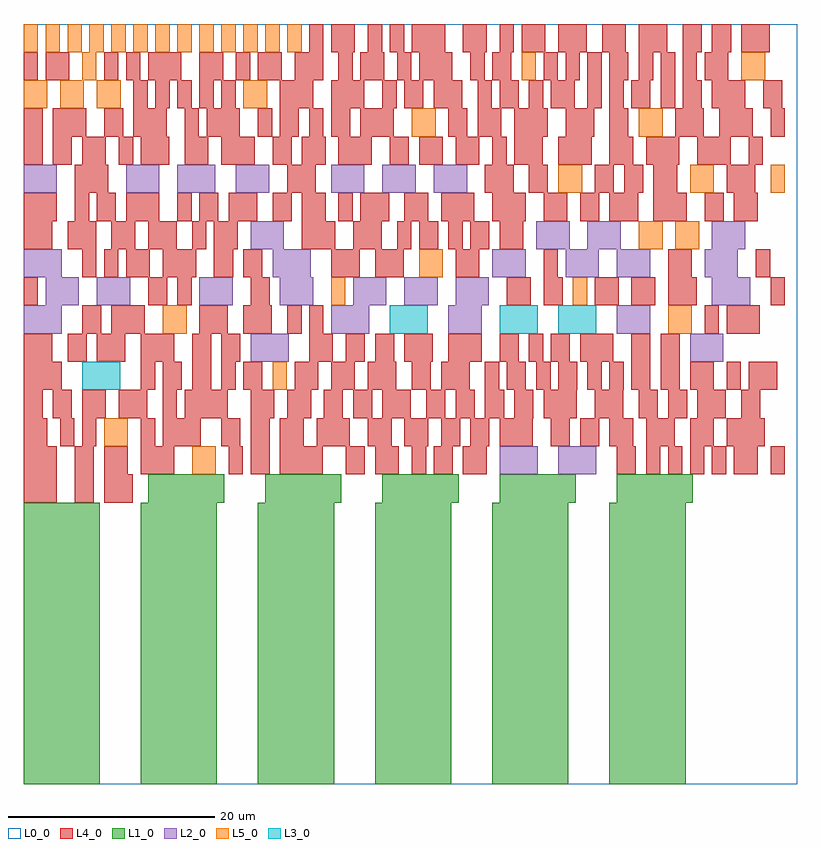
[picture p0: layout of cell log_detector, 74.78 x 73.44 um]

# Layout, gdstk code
import gdstk
lib = gdstk.Library(unit=1e-6, precision=1e-09)
def R(c, l, rs):  # rectangles x0, y0, x1, y1
    for r in rs: c.add(gdstk.rectangle(r[:2], r[2:], *l))
def A(c, l, x, y, w, h, nx, ny, dx, dy):  # array of equal rectangles
    R(c, l, [(x+i*dx, y+j*dy, x+i*dx+w, y+j*dy+h) for i in range(nx) for j in range(ny)])
L0_0 = (0, 0)
L1_0 = (1, 0)
L2_0 = (2, 0)
L3_0 = (3, 0)
L4_0 = (4, 0)
L5_0 = (5, 0)

log_detector = lib.new_cell('log_detector')
R(log_detector, L0_0, [(0,0,74.779,73.44)])
A(log_detector, L1_0, 0, 2.72, 7.36, 2.72, 6, 9, 11.323, 2.72)
A(log_detector, L1_0, 12.031, 27.2, 7.36, 2.72, 5, 1, 11.323, 0)
R(log_detector, L1_0, [(0,0,7.36,2.72), (0,0,7.36,2.72), (0,0,7.36,2.72), (11.323,0,18.683,2.72), (11.323,0,18.683,2.72), (11.323,0,18.683,2.72), (22.646,0,30.006,2.72), (22.646,0,30.006,2.72), (22.646,0,30.006,2.72), (33.969,0,41.329,2.72), (33.969,0,41.329,2.72), (45.292,0,52.652,2.72), (45.292,0,52.652,2.72), (56.615,0,63.975,2.72), (56.615,0,63.975,2.72)])
A(log_detector, L2_0, 31.846, 46.24, 3.22, 2.72, 3, 1, 4.954, 0)
A(log_detector, L2_0, 29.723, 57.12, 3.22, 2.72, 3, 1, 4.954, 0)
R(log_detector, L2_0, [(46,29.92,49.68,32.64), (51.662,29.92,55.342,32.64), (21.938,40.8,25.618,43.52), (64.4,40.8,67.62,43.52), (0,43.52,3.68,46.24), (29.723,43.52,33.403,46.24), (41.046,43.52,44.266,46.24), (57.323,43.52,60.543,46.24), (2.123,46.24,5.343,48.96), (7.077,46.24,10.297,48.96), (16.985,46.24,20.205,48.96), (24.769,46.24,27.989,48.96), (66.523,46.24,70.203,48.96), (0,48.96,3.68,51.68), (24.062,48.96,27.742,51.68), (45.292,48.96,48.512,51.68), (52.369,48.96,55.589,51.68), (57.323,48.96,60.543,51.68), (65.815,48.96,69.035,51.68), (21.938,51.68,25.158,54.4), (49.538,51.68,52.758,54.4), (54.492,51.68,57.712,54.4), (66.523,51.68,69.743,54.4), (0,57.12,3.22,59.84), (9.908,57.12,13.128,59.84), (14.862,57.12,18.542,59.84), (20.523,57.12,23.743,59.84)])
R(log_detector, L3_0, [(5.662,38.08,9.342,40.8), (35.385,43.52,39.065,46.24), (46,43.52,49.68,46.24), (51.662,43.52,55.342,46.24)])
A(log_detector, L4_0, 60.154, 29.92, 1.38, 2.72, 4, 1, 2.123, 0)
A(log_detector, L4_0, 72.185, 29.92, 1.38, 2.72, 1, 3, 0, 16.32)
A(log_detector, L4_0, 38.923, 35.36, 1.84, 2.72, 3, 1, 2.831, 0)
A(log_detector, L4_0, 15.569, 59.84, 2.3, 2.72, 3, 1, 11.323, 0)
A(log_detector, L4_0, 14.862, 65.28, 1.38, 2.72, 3, 1, 2.123, 0)
A(log_detector, L4_0, 36.092, 68, 1.38, 2.72, 3, 1, 7.077, 0)
A(log_detector, L4_0, 59.446, 68, 1.38, 2.72, 3, 1, 2.123, 0)
R(log_detector, L4_0, [(0,27.2,3.22,29.92), (4.954,27.2,6.794,29.92), (7.785,27.2,10.545,29.92), (0,29.92,3.22,32.64), (4.954,29.92,6.794,32.64), (7.785,29.92,10.085,32.64), (11.323,29.92,14.543,32.64), (19.815,29.92,21.195,32.64), (21.938,29.92,23.778,32.64), (24.769,29.92,28.909,32.64), (31.138,29.92,32.978,32.64), (33.969,29.92,36.269,32.64), (37.508,29.92,38.888,32.64), (39.631,29.92,41.471,32.64), (42.462,29.92,44.762,32.64), (57.323,29.92,59.163,32.64), (68.646,29.92,70.946,32.64), (0,32.64,2.3,35.36), (3.538,32.64,4.918,35.36), (5.662,32.64,7.042,35.36), (11.323,32.64,12.703,35.36), (13.446,32.64,17.126,35.36), (19.108,32.64,20.948,35.36), (21.938,32.64,23.778,35.36), (24.769,32.64,27.069,35.36), (28.308,32.64,31.528,35.36), (33.262,32.64,35.562,35.36), (36.8,32.64,39.1,35.36), (40.338,32.64,42.178,35.36), (43.169,32.64,45.009,35.36), (46,32.64,49.22,35.36), (50.954,32.64,52.794,35.36), (53.785,32.64,55.625,35.36), (56.615,32.64,58.915,35.36), (60.154,32.64,62.914,35.36), (64.4,32.64,66.7,35.36), (67.938,32.64,71.618,35.36), (0,35.36,1.84,38.08), (2.831,35.36,4.671,38.08), (5.662,35.36,7.962,38.08), (9.2,35.36,11.96,38.08), (13.446,35.36,14.826,38.08), (15.569,35.36,19.709,38.08), (21.938,35.36,24.238,38.08), (25.477,35.36,27.777,38.08), (29.015,35.36,30.855,38.08), (31.846,35.36,33.686,38.08), (34.677,35.36,37.437,38.08), (47.415,35.36,49.255,38.08), (50.246,35.36,53.466,38.08), (55.2,35.36,57.96,38.08), (59.446,35.36,61.286,38.08), (62.277,35.36,64.117,38.08), (65.108,35.36,67.868,38.08), (69.354,35.36,71.194,38.08), (0,38.08,3.68,40.8), (11.323,38.08,12.703,40.8), (13.446,38.08,15.286,40.8), (16.277,38.08,18.117,40.8), (19.108,38.08,20.488,40.8), (21.231,38.08,23.071,40.8), (26.185,38.08,28.485,40.8), (29.723,38.08,32.023,40.8), (33.262,38.08,36.022,40.8), (37.508,38.08,39.348,40.8), (40.338,38.08,43.098,40.8), (44.585,38.08,45.965,40.8), (46.708,38.08,48.548,40.8), (49.538,38.08,50.918,40.8), (51.662,38.08,53.502,40.8), (54.492,38.08,55.872,40.8), (56.615,38.08,57.995,40.8), (58.738,38.08,60.578,40.8), (61.569,38.08,63.409,40.8), (64.4,38.08,66.7,40.8), (67.938,38.08,69.318,40.8), (70.062,38.08,72.822,40.8), (0,40.8,2.76,43.52), (4.246,40.8,6.086,43.52), (7.077,40.8,9.837,43.52), (11.323,40.8,14.543,43.52), (16.277,40.8,18.117,43.52), (19.108,40.8,20.948,43.52), (27.6,40.8,29.9,43.52), (31.138,40.8,32.978,43.52), (33.969,40.8,35.809,43.52), (36.8,40.8,39.56,43.52), (41.046,40.8,44.266,43.52), (46,40.8,47.84,43.52), (48.831,40.8,50.211,43.52), (50.954,40.8,52.794,43.52), (53.785,40.8,57.005,43.52), (58.738,40.8,60.578,43.52), (61.569,40.8,63.409,43.52), (5.662,43.52,7.502,46.24), (8.492,43.52,11.712,46.24), (16.985,43.52,19.745,46.24), (21.231,43.52,23.991,46.24), (25.477,43.52,26.857,46.24), (27.6,43.52,28.98,46.24), (65.815,43.52,67.195,46.24), (67.938,43.52,71.158,46.24), (0,46.24,1.38,48.96), (12.031,46.24,13.871,48.96), (14.862,46.24,16.242,48.96), (21.938,46.24,23.778,48.96), (46.708,46.24,49.008,48.96), (50.246,46.24,52.086,48.96), (55.2,46.24,57.5,48.96), (58.738,46.24,61.038,48.96), (62.277,46.24,65.037,48.96), (5.662,48.96,7.042,51.68), (7.785,48.96,9.165,51.68), (9.908,48.96,12.208,51.68), (13.446,48.96,16.666,51.68), (18.4,48.96,20.24,51.68), (21.231,48.96,23.071,51.68), (29.723,48.96,32.483,51.68), (33.969,48.96,36.729,51.68), (41.754,48.96,44.054,51.68), (50.246,48.96,51.626,51.68), (62.277,48.96,64.577,51.68), (70.769,48.96,72.149,51.68), (0,51.68,2.76,54.4), (4.246,51.68,7.006,54.4), (8.492,51.68,10.792,54.4), (12.031,51.68,14.791,54.4), (16.277,51.68,17.657,54.4), (18.4,51.68,20.7,54.4), (26.892,51.68,30.112,54.4), (31.846,51.68,34.606,54.4), (36.092,51.68,37.472,54.4), (38.215,51.68,40.055,54.4), (41.046,51.68,42.426,54.4), (43.169,51.68,45.009,54.4), (46,51.68,48.3,54.4), (0,54.4,3.22,57.12), (4.954,54.4,6.334,57.12), (7.077,54.4,8.917,57.12), (9.908,54.4,13.128,57.12), (14.862,54.4,16.242,57.12), (16.985,54.4,18.825,57.12), (19.815,54.4,22.575,57.12), (24.062,54.4,25.902,57.12), (26.892,54.4,29.192,57.12), (30.431,54.4,31.811,57.12), (32.554,54.4,35.314,57.12), (36.8,54.4,39.1,57.12), (40.338,54.4,43.558,57.12), (45.292,54.4,48.512,57.12), (50.246,54.4,52.546,57.12), (53.785,54.4,55.625,57.12), (56.615,54.4,59.375,57.12), (60.862,54.4,64.082,57.12), (65.815,54.4,67.655,57.12), (68.646,54.4,70.946,57.12), (4.954,57.12,8.174,59.84), (25.477,57.12,28.237,59.84), (44.585,57.12,47.345,59.84), (48.831,57.12,50.671,59.84), (55.2,57.12,57.04,59.84), (58.031,57.12,59.871,59.84), (60.862,57.12,63.162,59.84), (67.938,57.12,70.698,59.84), (0,59.84,1.84,62.56), (2.831,59.84,4.671,62.56), (5.662,59.84,7.962,62.56), (9.2,59.84,10.58,62.56), (11.323,59.84,14.083,62.56), (19.108,59.84,22.328,62.56), (24.062,59.84,25.902,62.56), (30.431,59.84,33.651,62.56), (35.385,59.84,37.225,62.56), (41.754,59.84,44.054,62.56), (45.292,59.84,46.672,62.56), (47.415,59.84,50.175,62.56), (51.662,59.84,54.882,62.56), (56.615,59.84,58.915,62.56), (60.154,59.84,63.374,62.56), (65.108,59.84,68.328,62.56), (70.062,59.84,71.442,62.56), (0,62.56,1.84,65.28), (2.831,62.56,6.051,65.28), (7.785,62.56,9.625,65.28), (10.615,62.56,13.835,65.28), (15.569,62.56,16.949,65.28), (17.692,62.56,20.912,65.28), (22.646,62.56,24.026,65.28), (24.769,62.56,26.609,65.28), (27.6,62.56,28.98,65.28), (29.723,62.56,31.563,65.28), (32.554,62.56,35.774,65.28), (41.046,62.56,42.886,65.28), (43.877,62.56,46.177,65.28), (47.415,62.56,50.635,65.28), (52.369,62.56,55.129,65.28), (56.615,62.56,58.455,65.28), (62.985,62.56,65.745,65.28), (67.231,62.56,70.451,65.28), (10.615,65.28,11.995,68), (12.738,65.28,14.118,68), (24.769,65.28,27.989,68), (29.723,65.28,32.943,68), (34.677,65.28,36.057,68), (36.8,65.28,38.64,68), (39.631,65.28,42.391,68), (43.877,65.28,45.257,68), (46,65.28,47.84,68), (48.831,65.28,50.211,68), (50.954,65.28,53.254,68), (54.492,65.28,55.872,68), (56.615,65.28,57.995,68), (58.738,65.28,60.578,68), (61.569,65.28,62.949,68), (63.692,65.28,65.532,68), (66.523,65.28,69.743,68), (71.477,65.28,73.317,68), (0,68,1.38,70.72), (2.123,68,4.423,70.72), (7.785,68,9.165,70.72), (9.908,68,11.288,70.72), (12.031,68,15.251,70.72), (16.985,68,19.285,70.72), (20.523,68,21.903,70.72), (22.646,68,24.946,70.72), (26.185,68,28.945,70.72), (30.431,68,31.811,70.72), (32.554,68,34.854,70.72), (38.215,68,41.435,70.72), (45.292,68,47.132,70.72), (52.369,68,53.749,70.72), (54.492,68,55.872,70.72), (56.615,68,58.455,70.72), (65.815,68,68.115,70.72), (27.6,70.72,28.98,73.44), (29.723,70.72,32.023,73.44), (33.262,70.72,34.642,73.44), (35.385,70.72,36.765,73.44), (37.508,70.72,40.728,73.44), (42.462,70.72,44.762,73.44), (46,70.72,47.38,73.44), (48.123,70.72,50.423,73.44), (51.662,70.72,54.422,73.44), (55.908,70.72,58.208,73.44), (59.446,70.72,62.206,73.44), (63.692,70.72,65.532,73.44), (66.523,70.72,68.363,73.44), (69.354,70.72,72.114,73.44)])
A(log_detector, L5_0, 0, 70.72, 1.38, 2.72, 7, 1, 2.123, 0)
A(log_detector, L5_0, 14.862, 70.72, 1.38, 2.72, 6, 1, 2.123, 0)
R(log_detector, L5_0, [(16.277,29.92,18.577,32.64), (7.785,32.64,10.085,35.36), (24.062,38.08,25.442,40.8), (13.446,43.52,15.746,46.24), (62.277,43.52,64.577,46.24), (29.723,46.24,31.103,48.96), (53.077,46.24,54.457,48.96), (38.215,48.96,40.515,51.68), (59.446,51.68,61.746,54.4), (62.985,51.68,65.285,54.4), (51.662,57.12,53.962,59.84), (64.4,57.12,66.7,59.84), (72.185,57.12,73.565,59.84), (37.508,62.56,39.808,65.28), (59.446,62.56,61.746,65.28), (0,65.28,2.3,68), (3.538,65.28,5.838,68), (7.077,65.28,9.377,68), (21.231,65.28,23.531,68), (5.662,68,7.042,70.72), (48.123,68,49.503,70.72), (69.354,68,71.654,70.72)])

lib.write_gds('log_detector.gds')
